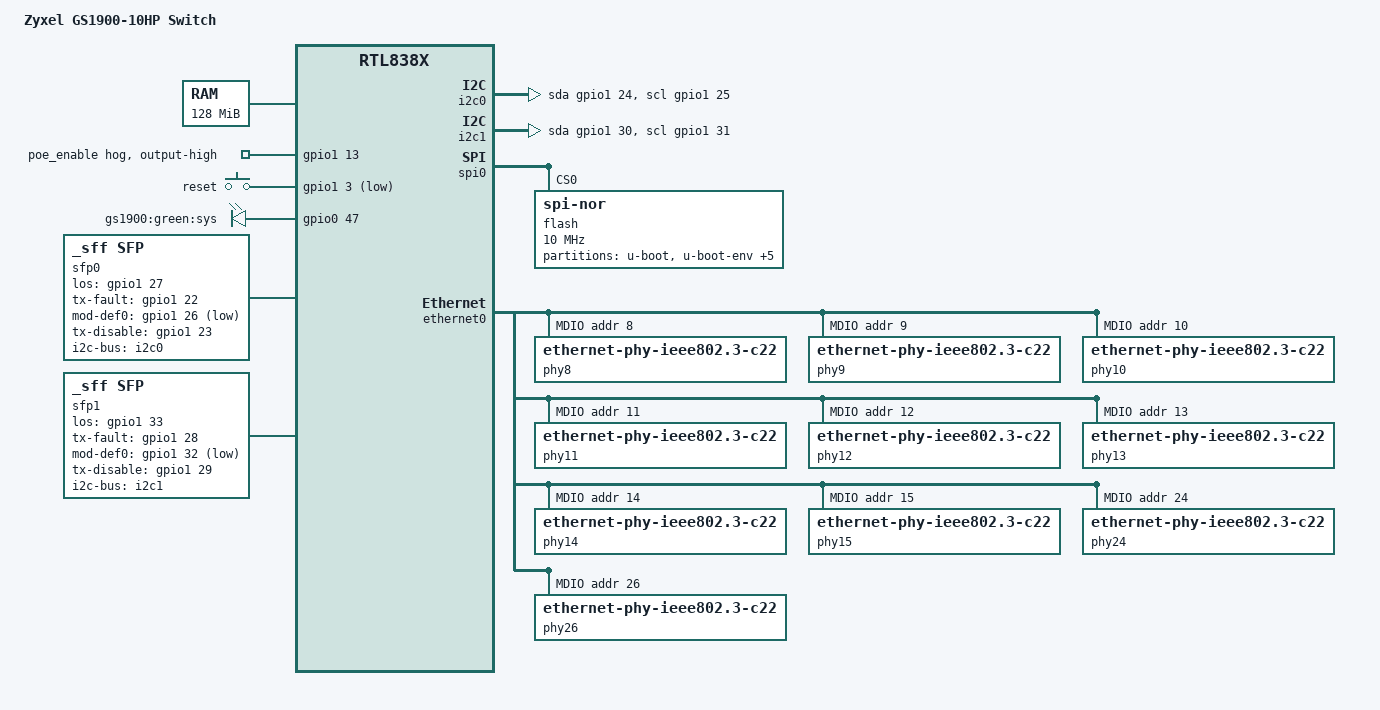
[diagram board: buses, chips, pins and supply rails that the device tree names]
// SPDX-License-Identifier: GPL-2.0-or-later

#include "rtl838x.dtsi"

#include <dt-bindings/input/input.h>
#include <dt-bindings/gpio/gpio.h>

/ {
	compatible = "zyxel,gs1900-10hp", "realtek,rtl838x-soc";
	model = "Zyxel GS1900-10HP Switch";

	aliases {
		led-boot = &led_sys;
		led-failsafe = &led_sys;
		led-running = &led_sys;
		led-upgrade = &led_sys;
	};

	chosen {
		bootargs = "console=ttyS0,115200";
	};

	memory@0 {
		device_type = "memory";
		reg = <0x0 0x8000000>;
	};

	gpio1: rtl8231-gpio {
		status = "okay";

		poe_enable {
			gpio-hog;
			gpios = <13 0>;
			output-high;
		};
	};

	keys {
		compatible = "gpio-keys-polled";
		poll-interval = <20>;

		reset {
			label = "reset";
			gpios = <&gpio1 3 GPIO_ACTIVE_LOW>;
			linux,code = <KEY_RESTART>;
		};
	};

	leds {
		compatible = "gpio-leds";

		led_sys: sys {
			label = "gs1900:green:sys";
			gpios = <&gpio0 47 GPIO_ACTIVE_HIGH>;
		};
	};

	/* i2c of the left SFP cage: port 9 */
	i2c0: i2c-gpio-0 {
		compatible = "i2c-gpio";
		sda-gpios = <&gpio1 24 (GPIO_ACTIVE_HIGH | GPIO_OPEN_DRAIN)>;
		scl-gpios = <&gpio1 25 (GPIO_ACTIVE_HIGH | GPIO_OPEN_DRAIN)>;
		i2c-gpio,delay-us = <2>;
		#address-cells = <1>;
		#size-cells = <0>;
	};

	sfp0: sfp-p9 {
		compatible = "_sff,sfp";
		i2c-bus = <&i2c0>;
		los-gpio = <&gpio1 27 GPIO_ACTIVE_HIGH>;
		tx-fault-gpio = <&gpio1 22 GPIO_ACTIVE_HIGH>;
		mod-def0-gpio = <&gpio1 26 GPIO_ACTIVE_LOW>;
		tx-disable-gpio = <&gpio1 23 GPIO_ACTIVE_HIGH>;
	};

	/* i2c of the right SFP cage: port 10 */
	i2c1: i2c-gpio-1 {
		compatible = "i2c-gpio";
		sda-gpios = <&gpio1 30 (GPIO_ACTIVE_HIGH | GPIO_OPEN_DRAIN)>;
		scl-gpios = <&gpio1 31 (GPIO_ACTIVE_HIGH | GPIO_OPEN_DRAIN)>;
		i2c-gpio,delay-us = <2>;
		#address-cells = <1>;
		#size-cells = <0>;
	};

	sfp1: sfp-p10 {
		compatible = "_sff,sfp";
		i2c-bus = <&i2c1>;
		los-gpio = <&gpio1 33 GPIO_ACTIVE_HIGH>;
		tx-fault-gpio = <&gpio1 28 GPIO_ACTIVE_HIGH>;
		mod-def0-gpio = <&gpio1 32 GPIO_ACTIVE_LOW>;
		tx-disable-gpio = <&gpio1 29 GPIO_ACTIVE_HIGH>;
	};

};

&spi0 {
	status = "okay";
	flash@0 {
		compatible = "jedec,spi-nor";
		reg = <0>;
		spi-max-frequency = <10000000>;

		partitions {
			compatible = "fixed-partitions";
			#address-cells = <1>;
			#size-cells = <1>;

			partition@0 {
				label = "u-boot";
				reg = <0x0 0x40000>;
				read-only;
			};
			partition@40000 {
				label = "u-boot-env";
				reg = <0x40000 0x10000>;
				read-only;
			};
			partition@50000 {
				label = "u-boot-env2";
				reg = <0x50000 0x10000>;
				read-only;
			};
			partition@60000 {
				label = "jffs";
				reg = <0x60000 0x100000>;
			};
			partition@160000 {
				label = "jffs2";
				reg = <0x160000 0x100000>;
			};
			partition@b260000 {
				label = "firmware";
				reg = <0x260000 0x6d0000>;
				compatible = "denx,uimage";
			};
			partition@930000 {
				label = "runtime2";
				reg = <0x930000 0x6d0000>;
			};
		};
	};
};

&ethernet0 {
	mdio: mdio-bus {
		compatible = "realtek,rtl838x-mdio";
		regmap = <&ethernet0>;
		#address-cells = <1>;
		#size-cells = <0>;

		/* Internal phy */
		phy8: ethernet-phy@8 {
			reg = <8>;
			compatible = "ethernet-phy-ieee802.3-c22";
		};
		phy9: ethernet-phy@9 {
			reg = <9>;
			compatible = "ethernet-phy-ieee802.3-c22";
		};
		phy10: ethernet-phy@10 {
			reg = <10>;
			compatible = "ethernet-phy-ieee802.3-c22";
		};
		phy11: ethernet-phy@11 {
			reg = <11>;
			compatible = "ethernet-phy-ieee802.3-c22";
		};
		phy12: ethernet-phy@12 {
			reg = <12>;
			compatible = "ethernet-phy-ieee802.3-c22";
		};
		phy13: ethernet-phy@13 {
			reg = <13>;
			compatible = "ethernet-phy-ieee802.3-c22";
		};
		phy14: ethernet-phy@14 {
			reg = <14>;
			compatible = "ethernet-phy-ieee802.3-c22";
		};
		phy15: ethernet-phy@15 {
			reg = <15>;
			compatible = "ethernet-phy-ieee802.3-c22";
		};
		phy24: ethernet-phy@24 {
			compatible = "ethernet-phy-ieee802.3-c22";
			reg = <24>;
		};
		phy26: ethernet-phy@26 {
			compatible = "ethernet-phy-ieee802.3-c22";
			reg = <26>;
		};
	};
};

&switch0 {
	ports {
		#address-cells = <1>;
		#size-cells = <0>;

		port@0 {
			reg = <8>;
			label = "lan1";
			phy-handle = <&phy8>;
			phy-mode = "internal";
		};
		port@1 {
			reg = <9>;
			label = "lan2";
			phy-handle = <&phy9>;
			phy-mode = "internal";
		};
		port@2 {
			reg = <10>;
			label = "lan3";
			phy-handle = <&phy10>;
			phy-mode = "internal";
		};
		port@3 {
			reg = <11>;
			label = "lan4";
			phy-handle = <&phy11>;
			phy-mode = "internal";
		};
		port@4 {
			reg = <12>;
			label = "lan5";
			phy-handle = <&phy12>;
			phy-mode = "internal";
		};
		port@5 {
			reg = <13>;
			label = "lan6";
			phy-handle = <&phy13>;
			phy-mode = "internal";
		};
		port@6 {
			reg = <14>;
			label = "lan7";
			phy-handle = <&phy14>;
			phy-mode = "internal";
		};
		port@7 {
			reg = <15>;
			label = "lan8";
			phy-handle = <&phy15>;
			phy-mode = "internal";
		};
		port@24 {
			reg = <24>;
			label = "lan9";
			phy-mode = "rgmii-id";
			phy-handle = <&phy24>;
			sfp = <&sfp0>;

			fixed-link {
				speed = <1000>;
				full-duplex;
				pause;
			};
		};
		port@26 {
			reg = <26>;
			label = "lan10";
			phy-mode = "rgmii-id";
			phy-handle = <&phy26>;
			sfp = <&sfp1>;

			fixed-link {
				speed = <1000>;
				full-duplex;
				pause;
			};
		};
		port@28 {
			ethernet = <&ethernet0>;
			reg = <28>;
			phy-mode = "internal";
			fixed-link {
				speed = <1000>;
				full-duplex;
			};
		};
	};
};
